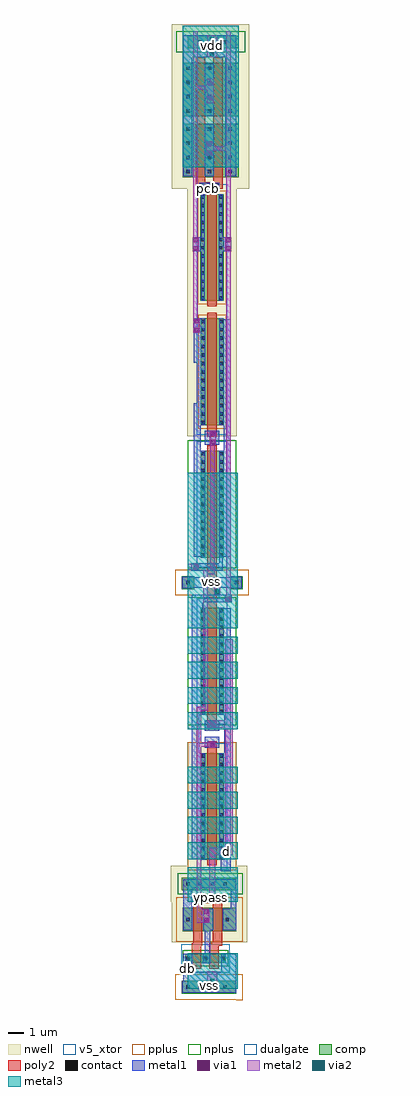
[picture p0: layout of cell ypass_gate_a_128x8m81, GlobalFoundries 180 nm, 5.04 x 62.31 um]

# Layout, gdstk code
from math import pi, radians
import gdstk
lib = gdstk.Library(unit=1e-6, precision=1e-09)
def R(c, l, rs):  # rectangles x0, y0, x1, y1
    for r in rs: c.add(gdstk.rectangle(r[:2], r[2:], *l))
def A(c, l, x, y, w, h, nx, ny, dx, dy):  # array of equal rectangles
    R(c, l, [(x+i*dx, y+j*dy, x+i*dx+w, y+j*dy+h) for i in range(nx) for j in range(ny)])
def P(c, l, *ps):  # polygons
    for p in ps: c.add(gdstk.Polygon(p, *l))
nwell = (21, 0)
comp = (22, 0)
poly2 = (30, 0)
pplus = (31, 0)
nplus = (32, 0)
contact = (33, 0)
metal1 = (34, 0)
via1 = (35, 0)
metal2 = (36, 0)
via2 = (38, 0)
metal3 = (42, 0)
dualgate = (55, 0)
v5_xtor = (112, 1)

m3_m2431059054871_128x8m = lib.new_cell('M3_M2431059054871_128x8m81')
R(m3_m2431059054871_128x8m, metal2, [(-0.19,-0.45,0.19,0.45)])
R(m3_m2431059054871_128x8m, via2, [(-0.13,-0.39,0.13,-0.13), (-0.13,0.13,0.13,0.39)])
R(m3_m2431059054871_128x8m, metal3, [(-0.19,-0.45,0.19,0.45)])

m2_m1431059054875_128x8m = lib.new_cell('M2_M1431059054875_128x8m81')
R(m2_m1431059054875_128x8m, metal1, [(-0.19,-0.45,0.19,0.45)])
R(m2_m1431059054875_128x8m, via1, [(-0.13,-0.39,0.13,-0.13), (-0.13,0.13,0.13,0.39)])
R(m2_m1431059054875_128x8m, metal2, [(-0.19,-0.45,0.19,0.45)])

m2_m14310590548724_128x8 = lib.new_cell('M2_M14310590548724_128x8m81')
R(m2_m14310590548724_128x8, metal1, [(-0.19,-0.19,0.19,0.19)])
R(m2_m14310590548724_128x8, via1, [(-0.13,-0.13,0.13,0.13)])
R(m2_m14310590548724_128x8, metal2, [(-0.19,-0.19,0.19,0.19)])

m1_psub__45111340_128x8m = lib.new_cell('M1_PSUB$$45111340_128x8m81')
R(m1_psub__45111340_128x8m, comp, [(-0.4,-0.415,0.4,0.415)])
R(m1_psub__45111340_128x8m, pplus, [(-0.795,-0.82,0.795,0.82)])
R(m1_psub__45111340_128x8m, contact, [(-0.11,-0.11,0.11,0.11)])
R(m1_psub__45111340_128x8m, metal1, [(-0.355,-0.37,0.355,0.37)])

m1_poly24310590548731_12 = lib.new_cell('M1_POLY24310590548731_128x8m81')
R(m1_poly24310590548731_12, poly2, [(-0.68,-0.21,0.68,0.21)])
A(m1_poly24310590548731_12, contact, -0.58, -0.11, 0.22, 0.22, 3, 1, 0.47, 0)
R(m1_poly24310590548731_12, metal1, [(-0.64,-0.17,0.64,0.17)])

m1_poly24310590548732_12 = lib.new_cell('M1_POLY24310590548732_128x8m81')
R(m1_poly24310590548732_12, poly2, [(-0.21,-0.21,0.21,0.21)])
R(m1_poly24310590548732_12, contact, [(-0.11,-0.11,0.11,0.11)])
R(m1_poly24310590548732_12, metal1, [(-0.17,-0.17,0.17,0.17)])

nmos_5p0431059054870_128 = lib.new_cell('nmos_5p0431059054870_128x8m81')
R(nmos_5p0431059054870_128, comp, [(-0.44,0,1.04,6.81), (-0.44,0,-0.08,6.81), (0.68,0,1.04,6.81)])
R(nmos_5p0431059054870_128, poly2, [(0,-0.22,0.6,7.03), (0,6.81,0.6,7.03)])
R(nmos_5p0431059054870_128, nplus, [(-0.6,-0.23,1.2,7.04)])
A(nmos_5p0431059054870_128, contact, -0.37, 0.07, 0.22, 0.22, 1, 7, 0, 0.54)
A(nmos_5p0431059054870_128, contact, 0.75, 0.07, 0.22, 0.22, 1, 7, 0, 0.54)
A(nmos_5p0431059054870_128, contact, -0.37, 3.845, 0.22, 0.22, 1, 6, 0, 0.535)
A(nmos_5p0431059054870_128, contact, 0.75, 3.845, 0.22, 0.22, 1, 6, 0, 0.535)
R(nmos_5p0431059054870_128, metal1, [(-0.375,0,-0.145,6.81), (-0.375,0,-0.145,6.81), (0.745,0,0.975,6.81), (0.745,0,0.975,6.81)])
R(nmos_5p0431059054870_128, dualgate, [(-0.68,-0.62,1.28,7.43)])
R(nmos_5p0431059054870_128, v5_xtor, [(-0.68,-0.62,1.28,7.43)])
nmos_5p0431059054870_128.add(gdstk.Label('S', (-0.26,3.405), layer=34, texttype=0))
nmos_5p0431059054870_128.add(gdstk.Label('D', (0.86,3.405), layer=34, texttype=0))

nmos_1p2__47119404_128x8 = lib.new_cell('nmos_1p2$$47119404_128x8m81')
R(nmos_1p2__47119404_128x8, poly2, [(-0.155,-0.37,0.445,-0.005), (-0.155,6.805,0.445,7.17)])
R(nmos_1p2__47119404_128x8, nplus, [(-1.145,-0.685,1.43,7.485)])
nmos_1p2__47119404_128x8.add(gdstk.Reference(nmos_5p0431059054870_128, (-0.155,0)))

m1_psub__47122476_128x8m = lib.new_cell('M1_PSUB$$47122476_128x8m81')
R(m1_psub__47122476_128x8m, comp, [(-1.585,-0.415,1.585,0.41)])
R(m1_psub__47122476_128x8m, pplus, [(-1.98,-0.82,1.98,0.82)])
A(m1_psub__47122476_128x8m, contact, -1.295, -0.11, 0.22, 0.22, 4, 1, 0.79, 0)
R(m1_psub__47122476_128x8m, metal1, [(-1.54,-0.37,1.54,0.37)])

via2_r90_128x8m81 = lib.new_cell('via2_R90_128x8m81')
P(via2_r90_128x8m81, metal2, [(0,-0.005),(0,0.27),(-0.005,0.27),(-0.005,0.33),(0,0.33),(0,0.635),(0.465,0.635),(0.465,-0.005)])
R(via2_r90_128x8m81, via2, [(0.1,0.2,0.36,0.46)])
R(via2_r90_128x8m81, metal3, [(0,-0.005,0.465,0.64)])

m1_nwell__47121452_128x8 = lib.new_cell('M1_NWELL$$47121452_128x8m81')
R(m1_nwell__47121452_128x8, nwell, [(-2.29,-1.14,2.29,1.14)])
R(m1_nwell__47121452_128x8, comp, [(-1.575,-0.4,1.575,0.4)])
R(m1_nwell__47121452_128x8, nplus, [(-1.84,-0.675,1.84,0.675)])
A(m1_nwell__47121452_128x8, contact, -1.295, -0.11, 0.22, 0.22, 4, 1, 0.79, 0)
R(m1_nwell__47121452_128x8, metal1, [(-1.475,-0.3,1.475,0.3)])

pmos_5p0431059054871_128 = lib.new_cell('pmos_5p0431059054871_128x8m81')
R(pmos_5p0431059054871_128, nwell, [(-1.04,-0.6,1.64,7.41)])
R(pmos_5p0431059054871_128, comp, [(-0.44,0,1.04,6.81), (-0.44,0,-0.08,6.81), (0.68,0,1.04,6.81)])
R(pmos_5p0431059054871_128, poly2, [(0,-0.22,0.6,7.03), (0,6.81,0.6,7.03)])
R(pmos_5p0431059054871_128, pplus, [(-0.6,-0.23,1.2,7.04)])
A(pmos_5p0431059054871_128, contact, -0.37, 0.07, 0.22, 0.22, 1, 7, 0, 0.54)
A(pmos_5p0431059054871_128, contact, 0.75, 0.07, 0.22, 0.22, 1, 7, 0, 0.54)
A(pmos_5p0431059054871_128, contact, -0.37, 3.845, 0.22, 0.22, 1, 6, 0, 0.535)
A(pmos_5p0431059054871_128, contact, 0.75, 3.845, 0.22, 0.22, 1, 6, 0, 0.535)
R(pmos_5p0431059054871_128, metal1, [(-0.375,0,-0.145,6.81), (-0.375,0,-0.145,6.81), (0.745,0,0.975,6.81), (0.745,0,0.975,6.81)])
R(pmos_5p0431059054871_128, dualgate, [(-0.68,-0.62,1.28,7.43)])
R(pmos_5p0431059054871_128, v5_xtor, [(-0.68,-0.62,1.28,7.43)])
pmos_5p0431059054871_128.add(gdstk.Label('S', (-0.26,3.405), layer=34, texttype=0))
pmos_5p0431059054871_128.add(gdstk.Label('D', (0.86,3.405), layer=34, texttype=0))

pmos_1p2__46889004_128x8 = lib.new_cell('pmos_1p2$$46889004_128x8m81')
R(pmos_1p2__46889004_128x8, nwell, [(-1.43,-0.71,1.715,7.51)])
R(pmos_1p2__46889004_128x8, poly2, [(-0.155,-0.37,0.445,-0.005), (-0.155,6.805,0.445,7.165)])
R(pmos_1p2__46889004_128x8, pplus, [(-1.145,-0.685,1.43,7.485)])
pmos_1p2__46889004_128x8.add(gdstk.Reference(pmos_5p0431059054871_128, (-0.155,0)))

via1_r90_128x8m81 = lib.new_cell('via1_R90_128x8m81')
R(via1_r90_128x8m81, metal1, [(0,0,0.465,0.64)])
R(via1_r90_128x8m81, via1, [(0.1,0.2,0.36,0.46)])
R(via1_r90_128x8m81, metal2, [(0,0,0.465,0.635)])

via1_x2_128x8m81 = lib.new_cell('via1_x2_128x8m81')
R(via1_x2_128x8m81, metal1, [(0,-0.005,0.46,1.59)])
R(via1_x2_128x8m81, via1, [(0.1,0.2,0.36,0.46), (0.1,1.13,0.36,1.39)])
R(via1_x2_128x8m81, metal2, [(0,0,0.46,1.59)])

via1_2_128x8m81 = lib.new_cell('via1_2_128x8m81')
via1_2_128x8m81.add(gdstk.Reference(via2_r90_128x8m81, (0,0)))
via1_2_128x8m81.add(gdstk.Reference(via1_r90_128x8m81, (0,0)))

m1_nwell__46277676_128x8 = lib.new_cell('M1_NWELL$$46277676_128x8m81')
R(m1_nwell__46277676_128x8, nwell, [(-1.895,-1.14,1.895,1.14)])
R(m1_nwell__46277676_128x8, comp, [(-1.18,-0.4,1.18,0.4)])
R(m1_nwell__46277676_128x8, nplus, [(-1.445,-0.675,1.445,0.675)])
A(m1_nwell__46277676_128x8, contact, -0.9, -0.11, 0.22, 0.22, 3, 1, 0.79, 0)
R(m1_nwell__46277676_128x8, metal1, [(-1.08,-0.3,1.08,0.3)])

nmos_5p0431059054872_128 = lib.new_cell('nmos_5p0431059054872_128x8m81')
A(nmos_5p0431059054872_128, comp, -0.44, 0, 0.36, 0.57, 3, 1, 1.12, 0)
R(nmos_5p0431059054872_128, comp, [(-0.44,0,2.16,0.57)])
R(nmos_5p0431059054872_128, poly2, [(0,-0.22,0.6,0.79), (1.12,-0.22,1.72,0.79), (0,0.57,0.6,0.79), (1.12,0.57,1.72,0.79)])
R(nmos_5p0431059054872_128, nplus, [(-0.6,-0.23,2.32,0.8)])
A(nmos_5p0431059054872_128, contact, -0.37, 0.175, 0.22, 0.22, 3, 1, 1.12, 0)
R(nmos_5p0431059054872_128, metal1, [(-0.375,0,-0.145,0.57), (-0.375,0,-0.145,0.57), (0.745,0,0.975,0.57), (0.745,0,0.975,0.57), (1.865,0,2.095,0.57), (1.865,0,2.095,0.57)])
R(nmos_5p0431059054872_128, dualgate, [(-0.68,-0.62,2.4,1.19)])
R(nmos_5p0431059054872_128, v5_xtor, [(-0.68,-0.62,2.4,1.19)])
nmos_5p0431059054872_128.add(gdstk.Label('S', (-0.26,0.285), layer=34, texttype=0))
nmos_5p0431059054872_128.add(gdstk.Label('S', (1.98,0.285), layer=34, texttype=0))
nmos_5p0431059054872_128.add(gdstk.Label('D', (0.86,0.285), layer=34, texttype=0))

ypass_gate_a_128x8m81 = lib.new_cell('ypass_gate_a_128x8m81')
R(ypass_gate_a_128x8m81, nwell, [(-0.025,35.54,3.12,43.76), (-0.035,43.475,3.11,51.695), (-1.015,51.33,3.935,61.85)])
P(ypass_gate_a_128x8m81, nwell, [(-1.015,3.24),(-1.015,6.125),(-0.025,6.125),(-0.025,8.1),(3.78,8.1),(3.78,3.24)])
R(ypass_gate_a_128x8m81, comp, [(2.76,-0.05,3.1,0.775), (-0.335,3.94,3.1,5.425), (2.75,6.56,3.1,7.36), (-0.335,52.08,3.255,55.49), (-0.335,55.955,3.255,59.365), (-0.005,60.31,3.255,61.11)])
R(ypass_gate_a_128x8m81, poly2, [(0.26,1.55,0.86,1.91), (1.38,1.55,1.98,1.91), (0.26,2.485,0.85,2.49), (1.25,15.475,1.85,16.055), (1.25,17.02,1.85,17.6), (1.25,24.65,1.85,27.525), (1.25,35.495,1.85,36.02), (1.25,35.885,1.85,36.245), (1.25,43.055,1.85,43.42), (1.24,43.82,1.84,44.18), (1.24,50.99,1.84,51.355)])
P(ypass_gate_a_128x8m81, poly2, [(0.26,2.695),(0.26,3.175),(0.335,3.175),(0.335,6.22),(2.19,6.22),(2.19,3.01),(1.98,3.01),(1.98,2.695),(1.38,2.695),(1.38,3.18),(1.59,3.18),(1.59,5.725),(0.935,5.725),(0.935,2.99),(0.86,2.99),(0.86,2.695)],
  [(0.51,51.32),(0.51,59.73),(1.11,59.73),(1.11,51.74),(1.635,51.74),(1.635,59.73),(2.235,59.73),(2.235,51.32)])
R(ypass_gate_a_128x8m81, pplus, [(3.09,-0.46,3.495,1.185), (-0.73,3.26,3.495,6.105), (-0.005,7.815,3.1,15.985), (0.48,25.365,2.42,27.005)])
R(ypass_gate_a_128x8m81, nplus, [(3.005,6.285,3.495,7.635), (-0.005,17.09,3.1,25.26), (-0.005,27.11,3.1,35.28), (-0.73,60.035,3.65,61.385)])
A(ypass_gate_a_128x8m81, contact, -0.11, 53.225, 0.22, 0.22, 1, 3, 0, 0.905)
A(ypass_gate_a_128x8m81, contact, 1.265, 53.225, 0.22, 0.22, 1, 3, 0, 0.905)
A(ypass_gate_a_128x8m81, contact, 2.57, 53.225, 0.22, 0.22, 1, 3, 0, 0.905)
R(ypass_gate_a_128x8m81, contact, [(-0.11,4.575,0.11,4.795), (1.155,4.575,1.375,4.795), (2.405,4.575,2.625,4.795), (-0.11,52.315,0.11,52.535), (1.265,52.315,1.485,52.535), (2.57,52.315,2.79,52.535), (-0.11,56.19,0.11,56.41), (1.265,56.19,1.485,56.41), (2.57,56.19,2.79,56.41), (-0.11,57.1,0.11,57.32), (1.265,57.1,1.485,57.32), (2.57,57.1,2.79,57.32), (-0.11,58.005,0.11,58.225), (1.265,58.005,1.485,58.225), (2.57,58.005,2.79,58.225), (-0.11,58.915,0.11,59.135), (1.265,58.915,1.485,59.135), (2.57,58.915,2.79,59.135)])
R(ypass_gate_a_128x8m81, metal1, [(-0.29,3.985,0.29,7.26), (0.68,5.775,2.025,6.26), (1.095,15.66,2.005,16.34), (1.095,16.74,2.005,17.415), (-0.355,25.86,3.1,26.53), (1.095,34.975,2.005,35.89), (0.36,47.35,1.095,48.25), (1.985,47.35,2.72,48.25), (1.085,52.125,1.665,55.445), (1.085,56,1.665,59.32)])
P(ypass_gate_a_128x8m81, metal1, [(2.17,27.835),(2.17,34.595),(2.29,34.595),(2.29,36.24),(2.17,36.24),(2.17,43.01),(2.75,43.01),(2.75,27.835)],
  [(0.37,27.835),(0.37,37.625),(0.57,37.625),(0.57,40.225),(0.37,40.225),(0.37,43.05),(0.96,43.05),(0.96,36.24),(0.81,36.24),(0.81,34.595),(0.96,34.595),(0.96,27.835)],
  [(0.225,26.95),(0.225,27.435),(1.995,27.435),(1.995,28.285),(2.225,28.285),(2.225,26.95)],
  [(0.24,8.54),(0.24,25.42),(2.805,25.42),(2.805,24.935),(0.94,24.935),(0.94,17.765),(0.725,17.765),(0.725,15.3),(0.94,15.3),(0.94,8.54)],
  [(2.105,7.77),(2.105,8.55),(2.155,8.55),(2.155,15.3),(2.32,15.3),(2.32,17.765),(2.155,17.765),(2.155,24.535),(2.75,24.535),(2.75,7.77)],
  [(2.225,3.985),(2.225,5.38),(2.74,5.38),(2.74,6.66),(2.65,6.66),(2.65,7.26),(3.1,7.26),(3.1,3.985)],
  [(0.96,1.9),(0.96,2.5),(1.085,2.5),(1.085,3.985),(0.975,3.985),(0.975,5.38),(1.62,5.38),(1.62,3.985),(1.445,3.985),(1.445,1.9)],
  [(-0.29,-0.005),(-0.29,2.5),(0.29,2.5),(0.29,1.355),(2.125,1.355),(2.125,2.5),(3.1,2.5),(3.1,-0.005)],
  [(-0.29,52.125),(-0.29,61.135),(3.1,61.135),(3.1,52.125),(2.39,52.125),(2.39,59.72),(0.29,59.72),(0.29,52.125)])
R(ypass_gate_a_128x8m81, metal2, [(1.225,0.245,1.87,1.39), (0.565,4.48,1.355,5.38), (0,27.005,0.695,27.385), (1.225,59.72,1.87,61.135)])
P(ypass_gate_a_128x8m81, metal2, [(1.375,5.775),(1.375,9.265),(2.4,9.265),(2.4,16.93),(1.25,16.93),(1.25,17.415),(2.4,17.415),(2.4,22.585),(2.87,22.585),(2.87,8.78),(1.755,8.78),(1.755,5.775)])
A(ypass_gate_a_128x8m81, metal3, -0.005, 8.54, 3.185, 1.075, 1, 4, 0, 1.61)
R(ypass_gate_a_128x8m81, metal3, [(-0.005,0.245,3.18,2.52), (-0.005,5.8,3.18,8.01), (-0.005,16.83,3.18,17.905), (-0.005,18.44,3.18,19.515), (-0.005,20.045,3.18,21.12), (-0.005,21.655,3.18,22.73), (-0.005,23.28,3.18,33.19), (-0.325,52.69,3.255,61.735)])
ypass_gate_a_128x8m81.add(gdstk.FlexPath([(1.58,35.705),(1.58,26.845),(1.135,26.845),(1.135,18.135),(0.705,18.135),(0.705,4.48)], 0.28, ends="flush", simple_path=True, layer=36, datatype=0))  # metal2
ypass_gate_a_128x8m81.add(gdstk.FlexPath([(1.55,15.845),(0.705,15.845)], 0.28, ends="flush", simple_path=True, layer=36, datatype=0))  # metal2
ypass_gate_a_128x8m81.add(gdstk.FlexPath([(0.5,57.78),(1.56,57.78)], 0.28, ends="flush", simple_path=True, layer=36, datatype=0))  # metal2
ypass_gate_a_128x8m81.add(gdstk.FlexPath([(2.59,61.375),(2.59,24.97)], 0.28, ends="flush", simple_path=True, layer=36, datatype=0))  # metal2
ypass_gate_a_128x8m81.add(gdstk.FlexPath([(0.5,61.375),(0.5,42.15)], 0.28, ends="flush", simple_path=True, layer=36, datatype=0))  # metal2
ypass_gate_a_128x8m81.add(gdstk.FlexPath([(1.245,53.9),(2.59,53.9)], 0.28, ends="flush", simple_path=True, layer=36, datatype=0))  # metal2
ypass_gate_a_128x8m81.add(gdstk.Reference(m3_m2431059054871_128x8m, (1.865,25.88)))
ypass_gate_a_128x8m81.add(gdstk.Reference(m2_m1431059054875_128x8m, (0.56,42.6)))
ypass_gate_a_128x8m81.add(gdstk.Reference(m2_m1431059054875_128x8m, (1.165,4.93)))
ypass_gate_a_128x8m81.add(gdstk.Reference(m2_m1431059054875_128x8m, (1.58,35.44)))
ypass_gate_a_128x8m81.add(gdstk.Reference(m2_m1431059054875_128x8m, (1.375,53.9)))
ypass_gate_a_128x8m81.add(gdstk.Reference(m2_m1431059054875_128x8m, (2.59,47.8)))
ypass_gate_a_128x8m81.add(gdstk.Reference(m2_m1431059054875_128x8m, (0.5,47.8)))
ypass_gate_a_128x8m81.add(gdstk.Reference(m2_m14310590548724_128x8, (0.505,27.195)))
ypass_gate_a_128x8m81.add(gdstk.Reference(m2_m14310590548724_128x8, (1.55,15.85)))
ypass_gate_a_128x8m81.add(gdstk.Reference(m2_m14310590548724_128x8, (1.565,6.01)))
ypass_gate_a_128x8m81.add(gdstk.Reference(m2_m14310590548724_128x8, (2.59,25.16)))
ypass_gate_a_128x8m81.add(gdstk.Reference(m2_m14310590548724_128x8, (1.865,26.205)))
ypass_gate_a_128x8m81.add(gdstk.Reference(m1_psub__45111340_128x8m, (0,26.185)))
ypass_gate_a_128x8m81.add(gdstk.Reference(m1_psub__45111340_128x8m, (3.1,26.185)))
ypass_gate_a_128x8m81.add(gdstk.Reference(m1_poly24310590548731_12, (1.36,51.53)))
ypass_gate_a_128x8m81.add(gdstk.Reference(m1_poly24310590548732_12, (1.58,35.705)))
ypass_gate_a_128x8m81.add(gdstk.Reference(m1_poly24310590548732_12, (1.265,6.01)))
ypass_gate_a_128x8m81.add(gdstk.Reference(m1_poly24310590548732_12, (1.55,15.845)))
ypass_gate_a_128x8m81.add(gdstk.Reference(m1_poly24310590548732_12, (1.55,17.23)))
ypass_gate_a_128x8m81.add(gdstk.Reference(nmos_1p2__47119404_128x8, (1.405,34.595), x_reflection=True))
ypass_gate_a_128x8m81.add(gdstk.Reference(nmos_1p2__47119404_128x8, (1.405,24.575), x_reflection=True))
ypass_gate_a_128x8m81.add(gdstk.Reference(m1_psub__47122476_128x8m, (1.185,0.365)))
ypass_gate_a_128x8m81.add(gdstk.Reference(via2_r90_128x8m81, (1.865,60.655), rotation=pi/2))
ypass_gate_a_128x8m81.add(gdstk.Reference(via2_r90_128x8m81, (1.865,59.725), rotation=pi/2))
ypass_gate_a_128x8m81.add(gdstk.Reference(m1_nwell__47121452_128x8, (1.185,6.96)))
ypass_gate_a_128x8m81.add(gdstk.Reference(pmos_5p0431059054871_128, (1.25,43.05), x_reflection=True))
ypass_gate_a_128x8m81.add(gdstk.Reference(pmos_5p0431059054871_128, (1.24,50.985), x_reflection=True))
ypass_gate_a_128x8m81.add(gdstk.Reference(pmos_1p2__46889004_128x8, (1.405,15.3), x_reflection=True))
ypass_gate_a_128x8m81.add(gdstk.Reference(via1_r90_128x8m81, (1.865,59.725), rotation=pi/2))
ypass_gate_a_128x8m81.add(gdstk.Reference(via1_r90_128x8m81, (1.865,60.655), rotation=pi/2))
ypass_gate_a_128x8m81.add(gdstk.Reference(via1_r90_128x8m81, (1.89,16.935), rotation=pi/2))
ypass_gate_a_128x8m81.add(gdstk.Reference(via1_x2_128x8m81, (1.195,56.775)))
ypass_gate_a_128x8m81.add(gdstk.Reference(via1_2_128x8m81, (1.32,0.44)))
ypass_gate_a_128x8m81.add(gdstk.Reference(m1_nwell__46277676_128x8, (1.55,60.71)))
ypass_gate_a_128x8m81.add(gdstk.Reference(nmos_5p0431059054872_128, (0.26,1.915)))
ypass_gate_a_128x8m81.add(gdstk.Label('vss', (1.395,0.455), layer=42, texttype=10))
ypass_gate_a_128x8m81.add(gdstk.Label('vdd', (1.59,60.47), layer=42, texttype=10))
ypass_gate_a_128x8m81.add(gdstk.Label('vss', (1.515,26.275), layer=42, texttype=10))
ypass_gate_a_128x8m81.add(gdstk.Label('b', (2.59,59.655), layer=36, texttype=10))
ypass_gate_a_128x8m81.add(gdstk.Label('bb', (0.525,59.655), layer=36, texttype=10))
ypass_gate_a_128x8m81.add(gdstk.Label('db', (0,1.52), layer=36, texttype=10))
ypass_gate_a_128x8m81.add(gdstk.Label('ypass', (1.425,6.11), layer=36, texttype=10))
ypass_gate_a_128x8m81.add(gdstk.Label('d', (2.46,9.025), layer=34, texttype=10))
ypass_gate_a_128x8m81.add(gdstk.Label('pcb', (1.295,51.36), layer=34, texttype=10))
ypass_gate_a_128x8m81.add(gdstk.Label('vdd', (1.59,6.78), layer=34, texttype=10))

lib.write_gds('ypass_gate_a_128x8m81.gds')
